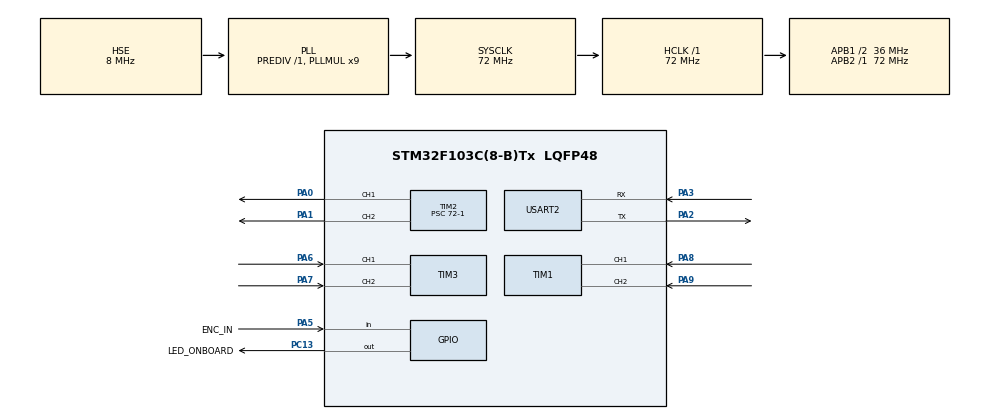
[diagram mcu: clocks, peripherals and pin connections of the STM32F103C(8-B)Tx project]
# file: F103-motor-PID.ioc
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Mcu.Family=STM32F1
Mcu.Name=STM32F103C(8-B)Tx
Mcu.Package=LQFP48
NVIC.PriorityGroup=NVIC_PRIORITYGROUP_4
PA0-WKUP.Signal=S_TIM2_CH1_ETR
PA1.Signal=S_TIM2_CH2
PA13.Mode=Serial_Wire
PA13.Signal=SYS_JTMS-SWDIO
PA14.Mode=Serial_Wire
PA14.Signal=SYS_JTCK-SWCLK
PA2.Mode=Asynchronous
PA2.Signal=USART2_TX
PA3.Mode=Asynchronous
PA3.Signal=USART2_RX
PA5.GPIO_Label=ENC_IN
PA5.Signal=GPIO_Input
PA6.Signal=S_TIM3_CH1
PA7.Signal=S_TIM3_CH2
PA8.Signal=S_TIM1_CH1
PA9.Signal=S_TIM1_CH2
PC13-TAMPER-RTC.GPIO_Label=LED_ONBOARD
PC13-TAMPER-RTC.Signal=GPIO_Output
PD0-OSC_IN.Mode=HSE-External-Oscillator
PD0-OSC_IN.Signal=RCC_OSC_IN
PD1-OSC_OUT.Mode=HSE-External-Oscillator
PD1-OSC_OUT.Signal=RCC_OSC_OUT
ProjectManager.HeapSize=0x200
ProjectManager.StackSize=0x400
ProjectManager.TargetToolchain=STM32CubeIDE
RCC.AHBFreq_Value=72000000
RCC.APB1CLKDivider=RCC_HCLK_DIV2
RCC.APB1Freq_Value=36000000
RCC.APB1TimFreq_Value=72000000
RCC.APB2Freq_Value=72000000
RCC.APB2TimFreq_Value=72000000
RCC.HCLKFreq_Value=72000000
RCC.PLLMUL=RCC_PLL_MUL9
RCC.PLLSourceVirtual=RCC_PLLSOURCE_HSE
RCC.SYSCLKFreq_VALUE=72000000
RCC.SYSCLKSource=RCC_SYSCLKSOURCE_PLLCLK
RCC.USBFreq_Value=72000000
SH.S_TIM1_CH1.0=TIM1_CH1,Encoder_Interface
SH.S_TIM1_CH2.0=TIM1_CH2,Encoder_Interface
SH.S_TIM2_CH1_ETR.0=TIM2_CH1,PWM Generation1 CH1
SH.S_TIM2_CH2.0=TIM2_CH2,PWM Generation2 CH2
SH.S_TIM3_CH1.0=TIM3_CH1,Encoder_Interface
SH.S_TIM3_CH2.0=TIM3_CH2,Encoder_Interface
TIM1.IC1Filter=10
TIM2.Channel-PWM\ Generation1\ CH1=TIM_CHANNEL_1
TIM2.Channel-PWM\ Generation2\ CH2=TIM_CHANNEL_2
TIM2.Period=100-1
TIM2.Prescaler=72-1
USART2.VirtualMode=VM_ASYNC
VP_TIM2_VS_ClockSourceINT.Mode=Internal
board=custom

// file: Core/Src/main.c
/* USER CODE BEGIN Header */
/**
  ******************************************************************************
  * @file           : main.c
  * @brief          : Main program body
  ******************************************************************************
  * @attention
  *
  * Copyright (c) 2023 STMicroelectronics.
  * All rights reserved.
  *
  * This software is licensed under terms that can be found in the LICENSE file
  * in the root directory of this software component.
  * If no LICENSE file comes with this software, it is provided AS-IS.
  *
  ******************************************************************************
  */
/* USER CODE END Header */
#include "main.h"
#include "tim.h"
#include "usart.h"
#include "gpio.h"

/* USER CODE BEGIN Includes */
#include <stdio.h>
#include <stdbool.h>
#include "PID_simple.h"
/* USER CODE END Includes */

/* USER CODE BEGIN PTD */
extern TIM_HandleTypeDef htim1;
extern TIM_HandleTypeDef htim2;
extern TIM_HandleTypeDef htim3;

#define TIMER_MOTOR_ENC		htim1
#define TIMER_ROTARY_ENC	htim3
#define TIMER_PWM_ENC		htim2
/* USER CODE END PTD */

/* USER CODE BEGIN PD */

#define	MOTOR_PPR				232	// Pulse per revolution

#define ENCODER_MAX_BUFFER		10

// Program time rate
#define PROGRAM_SAMPLE_TIME		20
/* USER CODE END PD */

/* USER CODE BEGIN PV */

// Keep track last millis
uint32_t previousMillis = 0;
uint32_t nowMillis = 0;
uint32_t elapsedTime = 0;

uint16_t setPointBuf[10] = {10, 20, 30, 50, 100, 110, 200, 500, 400, 500};

typedef struct lpf_config_t {
	float value;
	float valueNew;
	float valueOld;
	float factor;
}lpf_config_t;

lpf_config_t rpmFilter;

pid_config_t motorPID;

/* RPM config structure */
typedef struct rpm_config_t {
	TIM_HandleTypeDef *timEncoder;
	uint32_t lastMillis;
	uint32_t nowMillis;
	uint16_t sampleTime;
	float rpm;
	uint16_t encoderVal;
}rpm_config_t;

rpm_config_t motorEncoder;
/* USER CODE END PV */

void SystemClock_Config(void);
/* USER CODE BEGIN PFP */

#ifdef __GNUC__
#define PUTCHAR_PROTOTYPE int __io_putchar(int ch)
#else
#define PUTCHAR_PROTOTYPE int fputc(int ch, FILE *f)
#endif

PUTCHAR_PROTOTYPE
{
  HAL_UART_Transmit(&huart2, (uint8_t *)&ch, 1, HAL_MAX_DELAY);
  return ch;
}

void lpf_init(lpf_config_t *lpf, float filter_factor) {
	lpf->value = lpf->valueNew = lpf->valueOld = 0.0;
	lpf->factor = filter_factor;
}

float lpf_get_filter(lpf_config_t *lpf, float input) {
	lpf->value = input;
	lpf->valueNew = ((1.0 - lpf->factor) * lpf->valueOld) + (lpf->factor * lpf->value);
	lpf->valueOld = lpf->valueNew;

	return (lpf->valueNew);
}

void motor_rpm_init(rpm_config_t *rpm, TIM_HandleTypeDef *timEnc, uint16_t sample_time) {
	rpm->timEncoder = timEnc;
	rpm->lastMillis = 0;
	rpm->nowMillis = 0;
	rpm->rpm = 0;
	rpm->encoderVal = 0;
	rpm->sampleTime = sample_time;
}

void motor_rpm_reset(rpm_config_t *rpm) {
	rpm->lastMillis = 0;
	rpm->nowMillis = 0;
	rpm->rpm = 0;
	rpm->encoderVal = 0;
	rpm->sampleTime = 0;
}

uint16_t motor_get_rpm(rpm_config_t *rpm) {

	// Stop timer encoder in order to get a correct encoder value
	HAL_TIM_Encoder_Stop(rpm->timEncoder, TIM_CHANNEL_ALL);
	// Extract encoder value from timer counter
	rpm->encoderVal = __HAL_TIM_GET_COUNTER(rpm->timEncoder);
	// Calculate rpm
	rpm->rpm = ((rpm->encoderVal * (1000 / rpm->sampleTime)) * 60) / MOTOR_PPR;
	// Reset encoder value
	__HAL_TIM_SET_COUNTER(rpm->timEncoder, 0);
	// Restart timer encoder
	HAL_TIM_Encoder_Start(rpm->timEncoder, TIM_CHANNEL_ALL);

	return rpm->rpm;
}

float fmap(float x, float in_min, float in_max, float out_min, float out_max)
{
  return (x - in_min) * (out_max - out_min) / (in_max - in_min) + out_min;
}

long map(long x, long in_min, long in_max, long out_min, long out_max)
{
  return (x - in_min) * (out_max - out_min) / (in_max - in_min) + out_min;
}
/* USER CODE END PFP */

int main(void)
{

  /* MCU Configuration--------------------------------------------------------*/

  /* Reset of all peripherals, Initializes the Flash interface and the Systick. */
  HAL_Init();

  /* Configure the system clock */
  SystemClock_Config();

  /* Initialize all configured peripherals */
  MX_GPIO_Init();
  MX_TIM1_Init();
  MX_TIM2_Init();
  MX_TIM3_Init();
  MX_USART2_UART_Init();
  /* USER CODE BEGIN 2 */

  /* Start PWM Timer */
  HAL_TIM_PWM_Start(&TIMER_PWM_ENC, TIM_CHANNEL_1);
  HAL_TIM_PWM_Start(&TIMER_PWM_ENC, TIM_CHANNEL_2);

  /* Start Motor Encoder Timer */
  HAL_TIM_Encoder_Start(&TIMER_MOTOR_ENC, TIM_CHANNEL_ALL);
  // Motor encoder rpm init
  motor_rpm_init(&motorEncoder, &TIMER_MOTOR_ENC, PROGRAM_SAMPLE_TIME);
  // RPM low-pass-filter init
  lpf_init(&rpmFilter, .02);
  // PID init
  pid_init(&motorPID, 255, 5.0, 2.5, 0.2, (PROGRAM_SAMPLE_TIME / 1000.0), 0, 100);

  /* Start Rotary Encoder Timer */
  //  HAL_TIM_Encoder_Start(&TIMER_ROTARY_ENC, TIM_CHANNEL_ALL);

  float pwmMapped = 0.0;
  uint16_t rpmNew = 0;

  TIM2->CCR1 = 0;
  TIM2->CCR2 = 20;

  HAL_GPIO_WritePin(LED_ONBOARD_GPIO_Port, LED_ONBOARD_Pin, GPIO_PIN_SET);

  nowMillis = HAL_GetTick();
  /* USER CODE END 2 */

  /* Infinite loop */
  while (1)
  {

    /* USER CODE BEGIN 3 */

	  nowMillis = HAL_GetTick();
	  elapsedTime = nowMillis - previousMillis;
	  if(elapsedTime >= PROGRAM_SAMPLE_TIME) {

		  uint16_t rpmVal = motor_get_rpm(&motorEncoder);
		  rpmNew = lpf_get_filter(&rpmFilter, rpmVal);

		  float outpwm = pid_compute_all(&motorPID, rpmNew);
		  pwmMapped = fmap(outpwm, 0, 500, 0, 100);

//		  __HAL_TIM_SET_COMPARE(motorEncoder.timEncoder, TIM_CHANNEL_2, ((uint32_t)pwmMapped));

		  TIM2->CCR2 = (uint32_t)pwmMapped;
//		  printf("%.2f,%.2f,%.2f\r\n", setPoint, (float)rpmNew, pwmMapped);
		  printf("SP:%.2f,RPM:%.2f,PWM:%.2f\r\n", motorPID.setPoint, (float)rpmNew, pwmMapped);

		  previousMillis = nowMillis;
	  }
  }
  /* USER CODE END 3 */
}

void SystemClock_Config(void)
{
  RCC_OscInitTypeDef RCC_OscInitStruct = {0};
  RCC_ClkInitTypeDef RCC_ClkInitStruct = {0};

  /** Initializes the RCC Oscillators according to the specified parameters
  * in the RCC_OscInitTypeDef structure.
  */
  RCC_OscInitStruct.OscillatorType = RCC_OSCILLATORTYPE_HSE;
  RCC_OscInitStruct.HSEState = RCC_HSE_ON;
  RCC_OscInitStruct.HSEPredivValue = RCC_HSE_PREDIV_DIV1;
  RCC_OscInitStruct.HSIState = RCC_HSI_ON;
  RCC_OscInitStruct.PLL.PLLState = RCC_PLL_ON;
  RCC_OscInitStruct.PLL.PLLSource = RCC_PLLSOURCE_HSE;
  RCC_OscInitStruct.PLL.PLLMUL = RCC_PLL_MUL9;
  if (HAL_RCC_OscConfig(&RCC_OscInitStruct) != HAL_OK)
  {
    Error_Handler();
  }

  /** Initializes the CPU, AHB and APB buses clocks
  */
  RCC_ClkInitStruct.ClockType = RCC_CLOCKTYPE_HCLK|RCC_CLOCKTYPE_SYSCLK
                              |RCC_CLOCKTYPE_PCLK1|RCC_CLOCKTYPE_PCLK2;
  RCC_ClkInitStruct.SYSCLKSource = RCC_SYSCLKSOURCE_PLLCLK;
  RCC_ClkInitStruct.AHBCLKDivider = RCC_SYSCLK_DIV1;
  RCC_ClkInitStruct.APB1CLKDivider = RCC_HCLK_DIV2;
  RCC_ClkInitStruct.APB2CLKDivider = RCC_HCLK_DIV1;

  if (HAL_RCC_ClockConfig(&RCC_ClkInitStruct, FLASH_LATENCY_2) != HAL_OK)
  {
    Error_Handler();
  }
}

void Error_Handler(void)
{
  __disable_irq();
  while (1)
  {
  }
}
